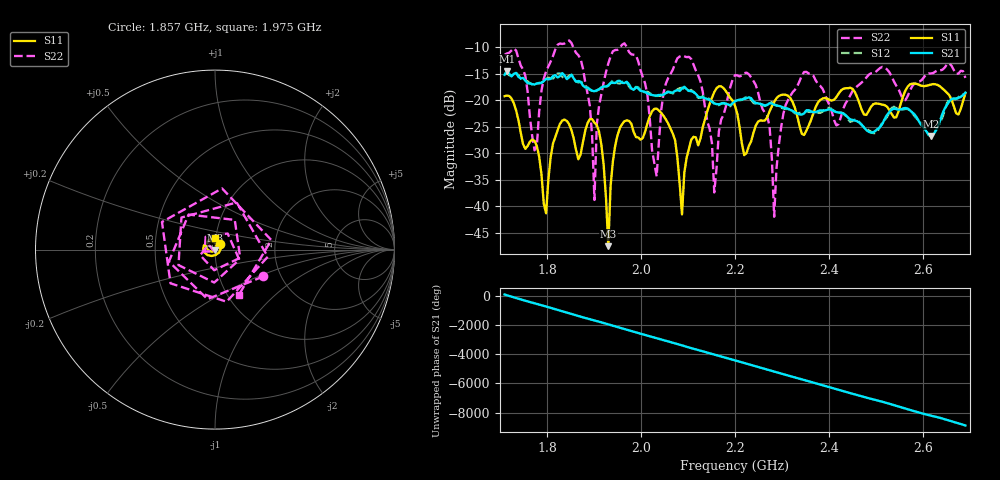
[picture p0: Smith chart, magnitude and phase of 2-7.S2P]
!Agilent Technologies,E5061B,MY49305579,A.02.22
!Date: Thu Aug 24 16:28:02 2017
!Data & Calibration Information:
!Freq	S11:SOLT2(ON)	S21:SOLT2(ON)	S12:SOLT2(ON)	S22:SOLT2(ON)
# Hz S dB R 50
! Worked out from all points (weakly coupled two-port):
!   201 points, 1.71 GHz to 2.69 GHz, reference 50 ohm
!   highest |S21| = -14.54 dB at 1.715 GHz (marker M1); lowest = -26.7 dB at 2.616 GHz (marker M2)
!   lowest |S11| = -47.5 dB at 1.931 GHz (marker M3), VSWR 1.01, Z = 50.1 - j0.399 ohm
!   |S11| at or under -10 dB: start of sweep to end of sweep
!   |S22| runs from -42.0 to -8.8 dB; largest |S21 - S12| = 0.019
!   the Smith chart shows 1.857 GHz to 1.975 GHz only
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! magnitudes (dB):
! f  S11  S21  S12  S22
! 1.71 GHz  -19.3  -15.2  -14.9  -11.4
! 1.715 GHz  -19.1  -14.5  -14.9  -11.2
! 1.774 GHz  -27.7  -17.1  -17.0  -29.5
! 1.798 GHz  -41.3  -16.0  -15.9  -14.6
! 1.828 GHz  -24.5  -15.5  -15.0  -9.3
! 1.877 GHz  -27.9  -17.3  -16.8  -14.0
! 1.901 GHz  -24.3  -18.3  -18.5  -38.8
! 1.906 GHz  -24.7  -18.1  -18.2  -24.6
! 1.931 GHz  -47.5  -17.2  -17.3  -13.1
! 1.955 GHz  -25.3  -16.4  -16.9  -10.1
! 2.038 GHz  -22.0  -19.0  -19.2  -27.6
! 2.087 GHz  -41.6  -17.8  -17.7  -11.6
! 2.127 GHz  -27.3  -19.5  -19.6  -16.5
! 2.156 GHz  -18.5  -20.6  -20.6  -37.4
! 2.2 GHz  -21.1  -20.2  -20.0  -15.3
! 2.269 GHz  -23.2  -20.9  -20.8  -23.0
! 2.283 GHz  -20.4  -20.9  -20.8  -42.0
! 2.308 GHz  -19.0  -21.5  -21.7  -20.9
! 2.367 GHz  -22.5  -22.3  -22.2  -15.4
! 2.528 GHz  -21.9  -22.2  -22.3  -14.7
! 2.616 GHz  -17.1  -26.7  -26.8  -15.0
! 2.69 GHz  -18.7  -18.6  -18.8  -15.8
